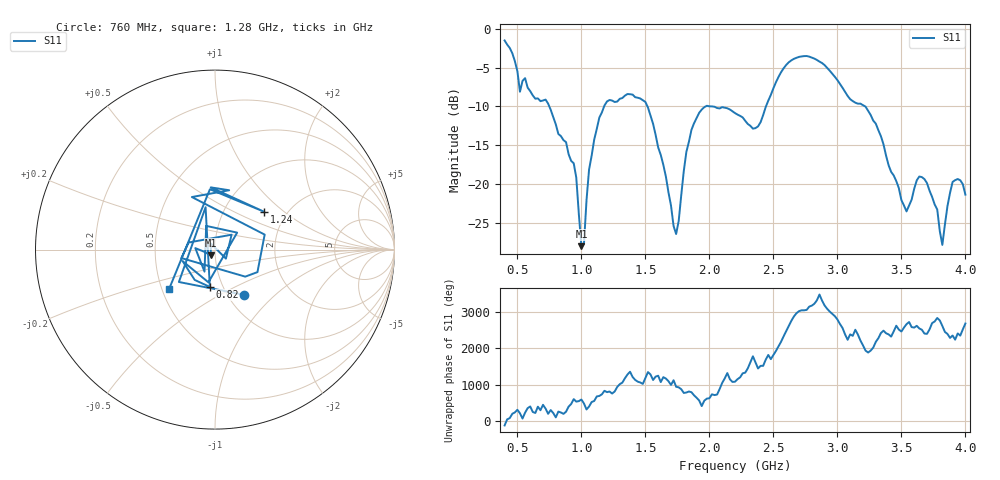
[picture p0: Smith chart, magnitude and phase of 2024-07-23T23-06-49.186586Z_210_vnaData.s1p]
!Created with skrf (http://scikit-rf.org).
# Hz S RI R 50.0
!freq ReS11 ImS11
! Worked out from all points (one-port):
!   181 points, 400 MHz to 4 GHz, reference 50 ohm
!   lowest |S11| = -28.0 dB at 1 GHz (marker M1), VSWR 1.08, Z = 47.6 - j3.04 ohm
!   |S11| at or under -10 dB: 1.516 GHz to 1.972 GHz (456.1 MHz wide, 26.2 % of centre); 2.007 GHz to 2.442 GHz (434.8 MHz wide, 19.5 % of centre); 3.216 GHz to end of sweep (the widest 3 of 4)
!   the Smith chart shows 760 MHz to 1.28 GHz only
!   S11 on the Smith chart (normalised r, x): 760 MHz: 1.19, -0.66; 820 MHz: 0.87, -0.38; 1.24 GHz: 1.53, +0.74; 1.28 GHz: 0.54, -0.27
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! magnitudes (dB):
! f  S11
! 400 MHz  -1.5
! 520 MHz  -8.1
! 760 MHz  -10.4
! 820 MHz  -13.6
! 860 MHz  -14.3
! 960 MHz  -19.2
! 1 GHz  -28.0
! 1.02 GHz  -27.7
! 1.06 GHz  -18.1
! 1.1 GHz  -14.3
! 1.24 GHz  -9.3
! 1.28 GHz  -9.4
! 1.3 GHz  -9.0
! 1.5 GHz  -9.4
! 1.72 GHz  -25.4
! 1.76 GHz  -24.8
! 1.82 GHz  -15.9
! 1.92 GHz  -10.8
! 2.2 GHz  -10.9
! 2.38 GHz  -12.6
! 2.66 GHz  -3.9
! 3.1 GHz  -9.1
! 3.3 GHz  -12.2
! 3.56 GHz  -22.8
! 3.68 GHz  -19.4
! 3.82 GHz  -27.8
! 3.9 GHz  -19.7
! 4 GHz  -21.4
